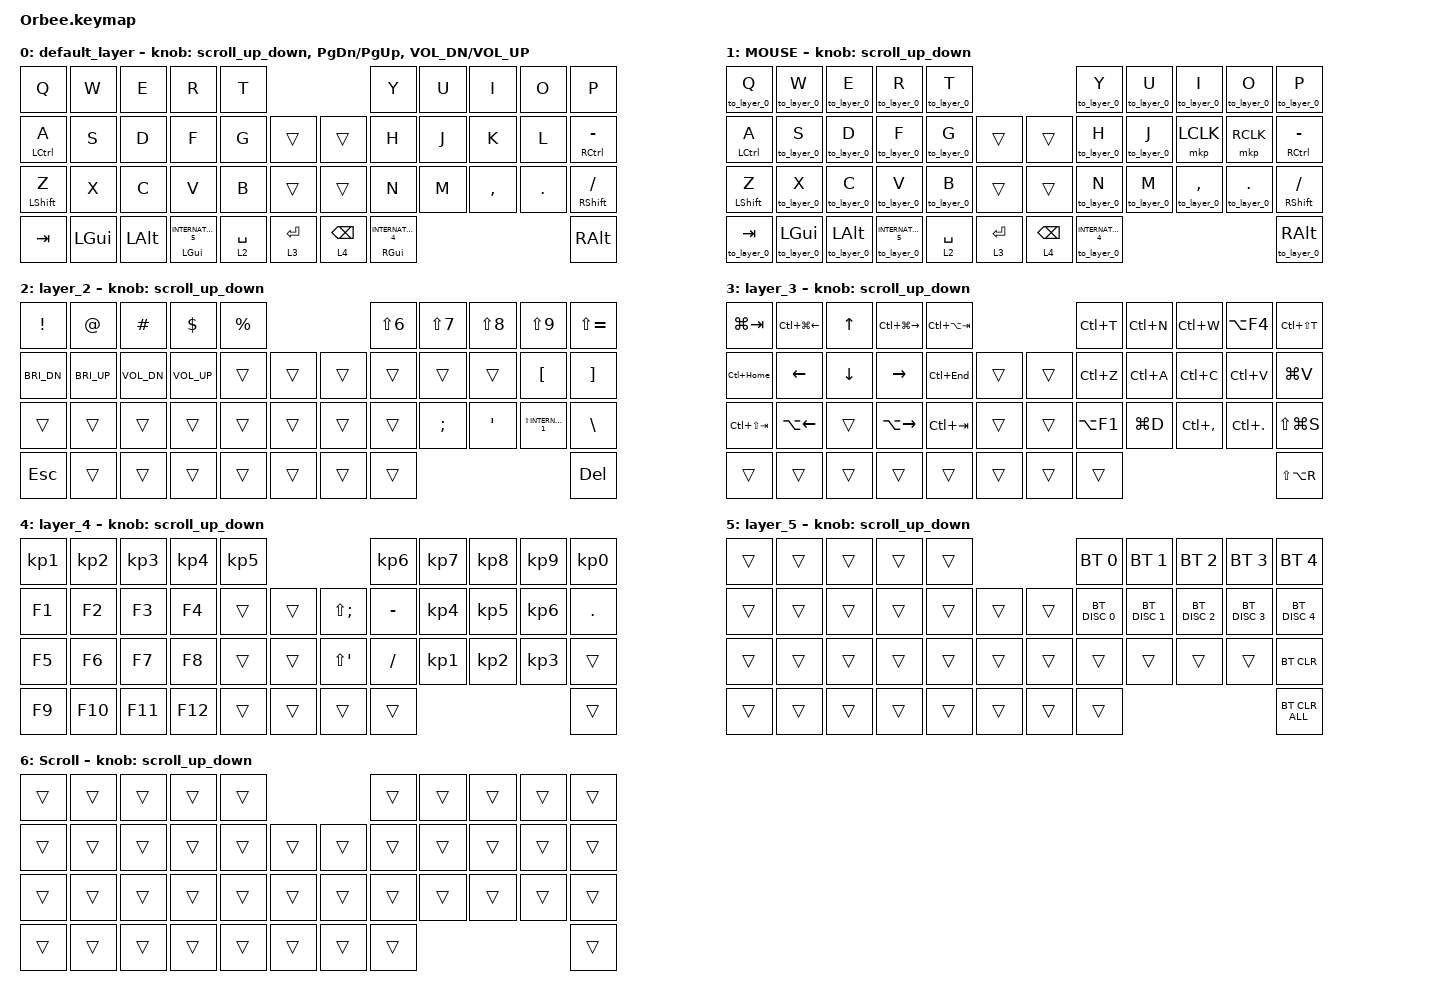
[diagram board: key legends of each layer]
#include <behaviors.dtsi>
#include <dt-bindings/zmk/bt.h>
#include <dt-bindings/zmk/keys.h>
#include <dt-bindings/zmk/pointing.h>

#define ZMK_POINTING_DEFAULT_SCRL_VAL 100
#define MOUSE 6

&mt {
    flavor = "balanced";
    quick-tap-ms = <0>;
};

/ {
    combos {
        compatible = "zmk,combos";

        ScrollMode {
            bindings = <&mo 6>;
            key-positions = <19 20>;
            timeout-ms = <200>;
            layers = <1>;
        };

        L1_L2_to_L5 {
            bindings = <&mo 5>;
            key-positions = <39 38>;
            timeout-ms = <200>;
            layers = <0 1>;
        };
    };

    macros {
        to_layer_0: to_layer_0 {
            compatible = "zmk,behavior-macro-one-param";
            #binding-cells = <1>;
            bindings = <&to 0 &macro_param_1to1 &kp MACRO_PLACEHOLDER>;
            label = "TO_LAYER_0";
        };
    };

    behaviors {
        lt_to_layer_0: lt_to_layer_0 {
            compatible = "zmk,behavior-hold-tap";
            label = "LAYER_TAP_TO_0";
            bindings = <&mo &to_layer_0>;
            #binding-cells = <2>;
            tapping-term-ms = <200>;
        };

        scroll_up_down: behavior_sensor_rotate_mouse_wheel_up_down {
            compatible = "zmk,behavior-sensor-rotate";
            #sensor-binding-cells = <0>;
            bindings = <&msc SCRL_UP &msc SCRL_DOWN>;
            tap-ms = <20>;
        };
    };

    keymap {
        compatible = "zmk,keymap";

        default_layer {
            bindings = <
&kp Q             &kp W         &kp E         &kp R                         &kp T                                        &kp Y                          &kp U  &kp I      &kp O    &kp P
&mt LCTRL A       &kp S         &kp D         &kp F                         &kp G        &trans         &trans           &kp H                          &kp J  &kp K      &kp L    &mt RCTRL MINUS
&mt LEFT_SHIFT Z  &kp X         &kp C         &kp V                         &kp B        &trans         &trans           &kp N                          &kp M  &kp COMMA  &kp DOT  &mt RIGHT_SHIFT SLASH
&kp TAB           &kp LEFT_GUI  &kp LEFT_ALT  &mt LEFT_GUI INTERNATIONAL_5  &lt 2 SPACE  &lt 3 ENTER    &lt 4 BACKSPACE  &mt RIGHT_GUI INTERNATIONAL_4                             &kp RIGHT_ALT
            >;

            sensor-bindings =
                <&scroll_up_down>,
                <&inc_dec_kp PG_DN PG_UP>,
                <&inc_dec_kp C_VOL_DN C_VOL_UP>;
        };

        MOUSE {
            bindings = <
&to_layer_0 Q     &to_layer_0 W         &to_layer_0 E         &to_layer_0 R                &to_layer_0 T                                  &to_layer_0 Y                &to_layer_0 U  &to_layer_0 I      &to_layer_0 O    &to_layer_0 P
&mt LCTRL A       &to_layer_0 S         &to_layer_0 D         &to_layer_0 F                &to_layer_0 G  &trans         &trans           &to_layer_0 H                &to_layer_0 J  &mkp LCLK          &mkp RCLK        &mt RCTRL MINUS
&mt LEFT_SHIFT Z  &to_layer_0 X         &to_layer_0 C         &to_layer_0 V                &to_layer_0 B  &trans         &trans           &to_layer_0 N                &to_layer_0 M  &to_layer_0 COMMA  &to_layer_0 DOT  &mt RIGHT_SHIFT SLASH
&to_layer_0 TAB   &to_layer_0 LEFT_GUI  &to_layer_0 LEFT_ALT  &to_layer_0 INTERNATIONAL_5  &lt 2 SPACE    &lt 3 ENTER    &lt 4 BACKSPACE  &to_layer_0 INTERNATIONAL_4                                                     &to_layer_0 RIGHT_ALT
            >;

            sensor-bindings = <&scroll_up_down>;
        };

        layer_2 {
            bindings = <
&kp EXCLAMATION  &kp AT_SIGN   &kp POUND     &kp DOLLAR    &kp PERCENT                    &kp LS(NUMBER_6)  &kp LS(N7)     &kp LS(N8)  &kp LS(N9)               &kp LS(EQUAL)
&kp C_BRI_DN     &kp C_BRI_UP  &kp C_VOL_DN  &kp C_VOL_UP  &trans       &trans    &trans  &trans            &trans         &trans      &kp LBKT                 &kp RIGHT_BRACKET
&trans           &trans        &trans        &trans        &trans       &trans    &trans  &trans            &kp SEMICOLON  &kp SQT     &kp LS(INTERNATIONAL_1)  &kp BACKSLASH
&kp ESCAPE       &trans        &trans        &trans        &trans       &trans    &trans  &trans                                                                &kp DEL
            >;

            sensor-bindings = <&scroll_up_down>;
        };

        layer_3 {
            bindings = <
&kp LG(TAB)      &kp LC(LG(LEFT))  &kp UP_ARROW    &kp LC(LG(RIGHT))  &kp LC(LA(TAB))                    &kp LC(T)   &kp LC(N)  &kp LC(W)      &kp LA(F4)   &kp LC(LS(T))
&kp LC(HOME)     &kp LEFT          &kp DOWN_ARROW  &kp RIGHT          &kp LC(END)      &trans    &trans  &kp LC(Z)   &kp LC(A)  &kp LC(C)      &kp LC(V)    &kp LG(V)
&kp LC(LS(TAB))  &kp LA(LEFT)      &trans          &kp LA(RIGHT)      &kp LC(TAB)      &trans    &trans  &kp LA(F1)  &kp LG(D)  &kp LC(COMMA)  &kp LC(DOT)  &kp LS(LG(S))
&trans           &trans            &trans          &trans             &trans           &trans    &trans  &trans                                             &kp LS(LA(R))
            >;

            sensor-bindings = <&scroll_up_down>;
        };

        layer_4 {
            bindings = <
&kp KP_N1  &kp KP_N2  &kp KP_N3  &kp KP_N4  &kp KP_N5                               &kp KP_N6  &kp KP_N7  &kp KP_N8  &kp KP_N9  &kp KP_N0
&kp F1     &kp F2     &kp F3     &kp F4     &trans     &trans    &kp LS(SEMICOLON)  &kp MINUS  &kp KP_N4  &kp KP_N5  &kp KP_N6  &kp DOT
&kp F5     &kp F6     &kp F7     &kp F8     &trans     &trans    &kp LS(SQT)        &kp SLASH  &kp KP_N1  &kp KP_N2  &kp KP_N3  &trans
&kp F9     &kp F10    &kp F11    &kp F12    &trans     &trans    &trans             &trans                                      &trans
            >;

            sensor-bindings = <&scroll_up_down>;
        };

        layer_5 {
            bindings = <
&trans  &trans  &trans  &trans  &trans                    &bt BT_SEL 0   &bt BT_SEL 1   &bt BT_SEL 2   &bt BT_SEL 3   &bt BT_SEL 4
&trans  &trans  &trans  &trans  &trans  &trans    &trans  &bt BT_DISC 0  &bt BT_DISC 1  &bt BT_DISC 2  &bt BT_DISC 3  &bt BT_DISC 4
&trans  &trans  &trans  &trans  &trans  &trans    &trans  &trans         &trans         &trans         &trans         &bt BT_CLR
&trans  &trans  &trans  &trans  &trans  &trans    &trans  &trans                                                      &bt BT_CLR_ALL
            >;

            sensor-bindings = <&scroll_up_down>;
        };

        Scroll {
            bindings = <
&trans  &trans  &trans  &trans  &trans                    &trans  &trans  &trans  &trans  &trans
&trans  &trans  &trans  &trans  &trans  &trans    &trans  &trans  &trans  &trans  &trans  &trans
&trans  &trans  &trans  &trans  &trans  &trans    &trans  &trans  &trans  &trans  &trans  &trans
&trans  &trans  &trans  &trans  &trans  &trans    &trans  &trans                          &trans
            >;

            sensor-bindings = <&scroll_up_down>;
        };
    };
};
